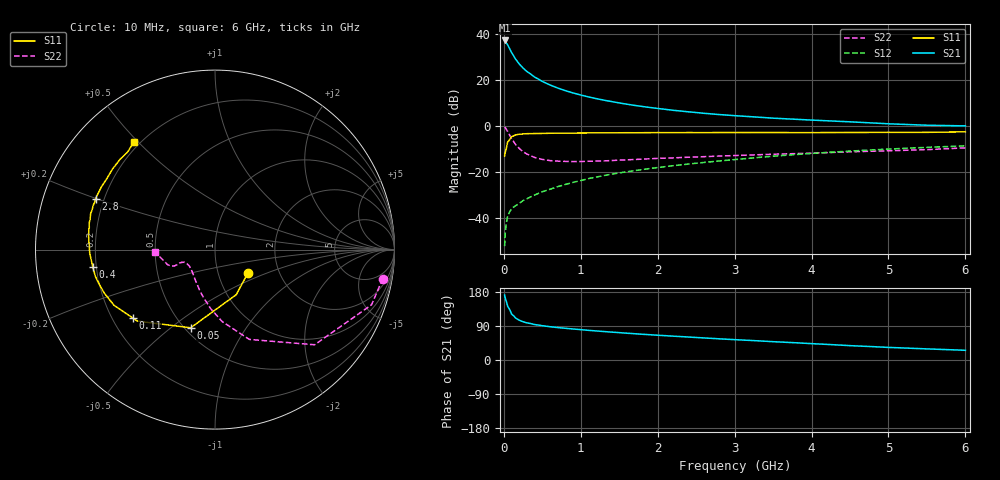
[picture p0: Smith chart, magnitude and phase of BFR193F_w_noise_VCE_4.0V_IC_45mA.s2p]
! Infineon Technologies  Discrete & RF Semiconductors
! BFR193F
! VCE =  4.0 V,  IC =  45 mA
! Common Emitter S-Parameters:  Jan 2017
# GHz  S  MA  R  50
!  f  S11  S21  S12  S22
! GHz  MAG  ANG  MAG  ANG  MAG  ANG  MAG  ANG
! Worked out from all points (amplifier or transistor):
!   77 points, 10 MHz to 6 GHz, reference 50 ohm
!   highest |S21| = 37.1 dB at 10 MHz (marker M1)
!   |S21| within 3 dB of that: start of sweep to 66.58 MHz
!   unconditionally stable (mu >= 1): 836.4 MHz to 2.615 GHz
!   at 130 MHz: K = 0.48, MSG = 32.7 dB, |S12| = -35.0 dB
!   at 2.2 GHz: K = 1.01, MAG = 11.3 dB, |S12| = -17.2 dB
!   at 6 GHz: K = 0.87, MSG = 4.3 dB, |S12| = -8.6 dB
!   lowest NFmin = 1.41 dB at 450 MHz
!   S11 on the Smith chart (normalised r, x): 10 MHz: 1.38, -0.39; 50 MHz: 0.54, -0.59; 110 MHz: 0.28, -0.34; 400 MHz: 0.19, -0.07; 2.8 GHz: 0.17, +0.20; 6 GHz: 0.18, +0.48
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0.01  0.2253 -36.0  71.39 171.2  0.0025 79.3  0.9486 -9.8
0.02  0.2777 -64.8  69.08 162.3  0.0053 73.8  0.9249 -19.4
0.05  0.4563 -107.3  57.1 141.5  0.0113 63.7  0.7676 -43.7
0.1  0.5882 -137.4  39.16 121.3  0.0162 53.5  0.5354 -69.1
0.11  0.5962 -140.3  36.96 119.7  0.0167 53.3  0.5065 -71.5
0.15  0.6425 -151.1  28.54 111.2  0.0187 52.5  0.403 -84.3
0.2  0.6633 -158.7  22.14 105.0  0.0212 52.1  0.3278 -94.5
0.25  0.6747 -163.9  17.99 101.0  0.0243 55.2  0.2767 -103.0
0.3  0.6827 -167.2  15.17 98.0  0.0266 57.9  0.2476 -109.6
0.4  0.6881 -172.1  11.49 93.5  0.032 61.6  0.2087 -120.4
0.5  0.6919 -175.3  9.253 90.5  0.0377 64.6  0.1894 -128.4
0.6  0.6977 -178.0  7.754 87.8  0.0426 67.0  0.1783 -134.7
0.7  0.7001 179.8  6.663 85.6  0.0486 68.8  0.1738 -139.4
0.9  0.7042 176.4  5.205 81.8  0.0603 70.9  0.1699 -146.8
1.1  0.7089 173.7  4.277 78.3  0.0727 72.3  0.1727 -151.1
1.5  0.7145 168.9  3.167 72.2  0.0965 73.0  0.1828 -156.6
2.1  0.7203 162.9  2.299 64.2  0.1321 72.7  0.2018 -159.1
2.8  0.7225 156.9  1.773 55.9  0.175 71.4  0.2237 -159.0
3.1  0.7223 154.4  1.638 52.7  0.1942 70.7  0.2326 -158.2
4.1  0.7215 145.6  1.323 42.2  0.2613 66.4  0.2621 -159.8
5.1  0.7294 135.8  1.102 32.5  0.3225 60.6  0.2945 -168.4
6  0.7497 127.2  1.008 25.6  0.3723 55.3  0.3368 -177.3
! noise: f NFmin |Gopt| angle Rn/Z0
0.45  1.41  0.45  180  0.07
0.9  1.49  0.46  -179  0.07
1.9  2.06  0.59  -164  0.09
2.4  2.37  0.61  -156  0.14
